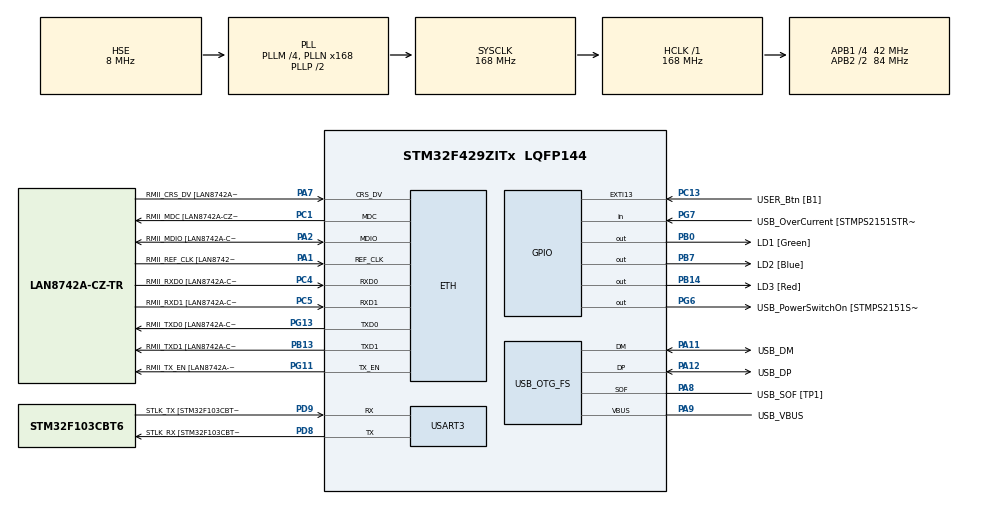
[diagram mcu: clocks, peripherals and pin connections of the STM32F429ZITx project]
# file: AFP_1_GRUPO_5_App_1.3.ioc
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ETH.MediaInterface=HAL_ETH_RMII_MODE
ETH.PHY_Name=LAN8742A_PHY_ADDRESS
ETH.PHY_Value=0
ETH.PhyAddress=0
Mcu.Family=STM32F4
Mcu.Name=STM32F429ZITx
Mcu.Package=LQFP144
NVIC.PriorityGroup=NVIC_PRIORITYGROUP_4
PA1.GPIO_Label=RMII_REF_CLK [LAN8742A-CZ-TR_REFCLK0]
PA1.Mode=RMII
PA1.Signal=ETH_REF_CLK
PA10.GPIO_Label=USB_ID
PA10.Signal=USB_OTG_FS_ID
PA11.GPIO_Label=USB_DM
PA11.Mode=Device_Only
PA11.Signal=USB_OTG_FS_DM
PA12.GPIO_Label=USB_DP
PA12.Mode=Device_Only
PA12.Signal=USB_OTG_FS_DP
PA13.GPIO_Label=TMS
PA13.Mode=Serial_Wire
PA13.Signal=SYS_JTMS-SWDIO
PA14.GPIO_Label=TCK
PA14.Mode=Serial_Wire
PA14.Signal=SYS_JTCK-SWCLK
PA2.GPIO_Label=RMII_MDIO [LAN8742A-CZ-TR_MDIO]
PA2.Mode=RMII
PA2.Signal=ETH_MDIO
PA7.GPIO_Label=RMII_CRS_DV [LAN8742A-CZ-TR_CRS_DV]
PA7.Mode=RMII
PA7.Signal=ETH_CRS_DV
PA8.GPIO_Label=USB_SOF [TP1]
PA8.Mode=Activate_SOF_FS
PA8.Signal=USB_OTG_FS_SOF
PA9.GPIO_Label=USB_VBUS
PA9.Mode=Activate_VBUS
PA9.Signal=USB_OTG_FS_VBUS
PB0.GPIO_Label=LD1 [Green]
PB0.Signal=GPIO_Output
PB13.GPIO_Label=RMII_TXD1 [LAN8742A-CZ-TR_TXD1]
PB13.Mode=RMII
PB13.Signal=ETH_TXD1
PB14.GPIO_Label=LD3 [Red]
PB14.Signal=GPIO_Output
PB7.GPIO_Label=LD2 [Blue]
PB7.Signal=GPIO_Output
PC1.GPIO_Label=RMII_MDC [LAN8742A-CZ-TR_MDC]
PC1.Mode=RMII
PC1.Signal=ETH_MDC
PC13.GPIO_Label=USER_Btn [B1]
PC13.Signal=GPXTI13
PC14/OSC32_IN.Mode=LSE-External-Oscillator
PC14/OSC32_IN.Signal=RCC_OSC32_IN
PC15/OSC32_OUT.Mode=LSE-External-Oscillator
PC15/OSC32_OUT.Signal=RCC_OSC32_OUT
PC4.GPIO_Label=RMII_RXD0 [LAN8742A-CZ-TR_RXD0]
PC4.Mode=RMII
PC4.Signal=ETH_RXD0
PC5.GPIO_Label=RMII_RXD1 [LAN8742A-CZ-TR_RXD1]
PC5.Mode=RMII
PC5.Signal=ETH_RXD1
PD8.GPIO_Label=STLK_RX [STM32F103CBT6_PA3]
PD8.Mode=Asynchronous
PD8.Signal=USART3_TX
PD9.GPIO_Label=STLK_TX [STM32F103CBT6_PA2]
PD9.Mode=Asynchronous
PD9.Signal=USART3_RX
PG11.GPIO_Label=RMII_TX_EN [LAN8742A-CZ-TR_TXEN]
PG11.Mode=RMII
PG11.Signal=ETH_TX_EN
PG13.GPIO_Label=RMII_TXD0 [LAN8742A-CZ-TR_TXD0]
PG13.Mode=RMII
PG13.Signal=ETH_TXD0
PG6.GPIO_Label=USB_PowerSwitchOn [STMPS2151STR_EN]
PG6.Signal=GPIO_Output
PG7.GPIO_Label=USB_OverCurrent [STMPS2151STR_FAULT]
PG7.Signal=GPIO_Input
PH0/OSC_IN.GPIO_Label=MCO [STM32F103CBT6_PA8]
PH0/OSC_IN.Mode=HSE-External-Clock-Source
PH0/OSC_IN.Signal=RCC_OSC_IN
PH1/OSC_OUT.Mode=HSE-External-Clock-Source
PH1/OSC_OUT.Signal=RCC_OSC_OUT
ProjectManager.HeapSize=0x200
ProjectManager.StackSize=0x400
ProjectManager.TargetToolchain=STM32CubeIDE
RCC.48MHZClocksFreq_Value=48000000
RCC.AHBFreq_Value=168000000
RCC.APB1CLKDivider=RCC_HCLK_DIV4
RCC.APB1Freq_Value=42000000
RCC.APB1TimFreq_Value=84000000
RCC.APB2CLKDivider=RCC_HCLK_DIV2
RCC.APB2Freq_Value=84000000
RCC.APB2TimCLKDivider=2
RCC.APB2TimFreq_Value=168000000
RCC.CortexFreq_Value=168000000
RCC.HCLKFreq_Value=168000000
RCC.HSE_VALUE=8000000
RCC.HSI_VALUE=16000000
RCC.PLLM=4
RCC.PLLMUL=RCC_PLL_MUL9
RCC.PLLN=168
RCC.PLLQ=7
RCC.PRESCALERUSB=RCC_USBCLKSOURCE_PLL_DIV1_5
RCC.SYSCLKFreq_VALUE=168000000
RCC.SYSCLKSource=RCC_SYSCLKSOURCE_PLLCLK
RCC.SYSCLKSourceVirtual=RCC_SYSCLKSOURCE_PLLCLK
RCC.USBFreq_Value=48000000
RCC.VCOOutputFreq_Value=336000000
USART3.VirtualMode=VM_ASYNC
USB_OTG_FS.VirtualMode=Device_Only
board=NUCLEO-F429ZI

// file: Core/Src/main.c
/* USER CODE BEGIN Header */
/**
 * #include "stm32f4xx_hal.h"
  ******************************************************************************
  * @file           : main.c
  * @brief          : Main program body
  ******************************************************************************
  * @attention
  *
  * Copyright (c) 2024 STMicroelectronics.
  * All rights reserved.
  *
  * This software is licensed under terms that can be found in the LICENSE file
  * in the root directory of this software component.
  * If no LICENSE file comes with this software, it is provided AS-IS.
  *
  ******************************************************************************
  */
/* USER CODE END Header */
#include "main.h"
#include "string.h"

ETH_TxPacketConfig TxConfig;
ETH_DMADescTypeDef  DMARxDscrTab[ETH_RX_DESC_CNT]; /* Ethernet Rx DMA Descriptors */
ETH_DMADescTypeDef  DMATxDscrTab[ETH_TX_DESC_CNT]; /* Ethernet Tx DMA Descriptors */

ETH_HandleTypeDef heth;

UART_HandleTypeDef huart3;

PCD_HandleTypeDef hpcd_USB_OTG_FS;

void SystemClock_Config(void);
static void MX_GPIO_Init(void);
static void MX_ETH_Init(void);
static void MX_USART3_UART_Init(void);
static void MX_USB_OTG_FS_PCD_Init(void);

/* USER CODE BEGIN 0 */
uint16_t vector_leds [CANT_LEDS] = {LD1_Pin, LD2_Pin, LD3_Pin};
uint8_t secuencia_actual = 1; // Secuencia inicial

/* USER CODE END 0 */

int main(void)
{

  /* MCU Configuration--------------------------------------------------------*/

  /* Reset of all peripherals, Initializes the Flash interface and the Systick. */
  HAL_Init();

  /* Configure the system clock */
  SystemClock_Config();

  /* Initialize all configured peripherals */
  MX_GPIO_Init();
  MX_ETH_Init();
  MX_USART3_UART_Init();
  MX_USB_OTG_FS_PCD_Init();

  /* Infinite loop */
  /* USER CODE BEGIN WHILE */
  while (1)
  {
	  switch(secuencia_actual){
	  	  	  case 1:
	  	  		  secuencia_actual = secuencia1(vector_leds, 150);
	  	  		  break;
	  	  	  case 2:
	  	  		  secuencia_actual = secuencia2(vector_leds, 300);
	  	  		  break;
	  	  	  case 3:
	  	  		  secuencia_actual = secuencia3(vector_leds);
	  	  		  break;
	  	  	  case 4:
	  	  		  secuencia_actual = secuencia4(vector_leds);
	  	  		  break;
	  	  	  default:
	  	  		  for(int j=0;j<CANT_LEDS;j++){
	  	  			  HAL_GPIO_WritePin(GPIOB, vector_leds[j], GPIO_PIN_RESET);
	  	  		  }
	  	  		  break;
	  	  }
  /* USER CODE END 3 */
}
}
void SystemClock_Config(void)
{
  RCC_OscInitTypeDef RCC_OscInitStruct = {0};
  RCC_ClkInitTypeDef RCC_ClkInitStruct = {0};

  /** Configure the main internal regulator output voltage
  */
  __HAL_RCC_PWR_CLK_ENABLE();
  __HAL_PWR_VOLTAGESCALING_CONFIG(PWR_REGULATOR_VOLTAGE_SCALE1);

  /** Initializes the RCC Oscillators according to the specified parameters
  * in the RCC_OscInitTypeDef structure.
  */
  RCC_OscInitStruct.OscillatorType = RCC_OSCILLATORTYPE_HSE;
  RCC_OscInitStruct.HSEState = RCC_HSE_BYPASS;
  RCC_OscInitStruct.PLL.PLLState = RCC_PLL_ON;
  RCC_OscInitStruct.PLL.PLLSource = RCC_PLLSOURCE_HSE;
  RCC_OscInitStruct.PLL.PLLM = 4;
  RCC_OscInitStruct.PLL.PLLN = 168;
  RCC_OscInitStruct.PLL.PLLP = RCC_PLLP_DIV2;
  RCC_OscInitStruct.PLL.PLLQ = 7;
  if (HAL_RCC_OscConfig(&RCC_OscInitStruct) != HAL_OK)
  {
    Error_Handler();
  }

  /** Initializes the CPU, AHB and APB buses clocks
  */
  RCC_ClkInitStruct.ClockType = RCC_CLOCKTYPE_HCLK|RCC_CLOCKTYPE_SYSCLK
                              |RCC_CLOCKTYPE_PCLK1|RCC_CLOCKTYPE_PCLK2;
  RCC_ClkInitStruct.SYSCLKSource = RCC_SYSCLKSOURCE_PLLCLK;
  RCC_ClkInitStruct.AHBCLKDivider = RCC_SYSCLK_DIV1;
  RCC_ClkInitStruct.APB1CLKDivider = RCC_HCLK_DIV4;
  RCC_ClkInitStruct.APB2CLKDivider = RCC_HCLK_DIV2;

  if (HAL_RCC_ClockConfig(&RCC_ClkInitStruct, FLASH_LATENCY_5) != HAL_OK)
  {
    Error_Handler();
  }
}

static void MX_ETH_Init(void)
{

   static uint8_t MACAddr[6];

  heth.Instance = ETH;
  MACAddr[0] = 0x00;
  MACAddr[1] = 0x80;
  MACAddr[2] = 0xE1;
  MACAddr[3] = 0x00;
  MACAddr[4] = 0x00;
  MACAddr[5] = 0x00;
  heth.Init.MACAddr = &MACAddr[0];
  heth.Init.MediaInterface = HAL_ETH_RMII_MODE;
  heth.Init.TxDesc = DMATxDscrTab;
  heth.Init.RxDesc = DMARxDscrTab;
  heth.Init.RxBuffLen = 1524;

  if (HAL_ETH_Init(&heth) != HAL_OK)
  {
    Error_Handler();
  }

  memset(&TxConfig, 0 , sizeof(ETH_TxPacketConfig));
  TxConfig.Attributes = ETH_TX_PACKETS_FEATURES_CSUM | ETH_TX_PACKETS_FEATURES_CRCPAD;
  TxConfig.ChecksumCtrl = ETH_CHECKSUM_IPHDR_PAYLOAD_INSERT_PHDR_CALC;
  TxConfig.CRCPadCtrl = ETH_CRC_PAD_INSERT;

}

static void MX_USART3_UART_Init(void)
{

  huart3.Instance = USART3;
  huart3.Init.BaudRate = 115200;
  huart3.Init.WordLength = UART_WORDLENGTH_8B;
  huart3.Init.StopBits = UART_STOPBITS_1;
  huart3.Init.Parity = UART_PARITY_NONE;
  huart3.Init.Mode = UART_MODE_TX_RX;
  huart3.Init.HwFlowCtl = UART_HWCONTROL_NONE;
  huart3.Init.OverSampling = UART_OVERSAMPLING_16;
  if (HAL_UART_Init(&huart3) != HAL_OK)
  {
    Error_Handler();
  }

}

static void MX_USB_OTG_FS_PCD_Init(void)
{

  hpcd_USB_OTG_FS.Instance = USB_OTG_FS;
  hpcd_USB_OTG_FS.Init.dev_endpoints = 4;
  hpcd_USB_OTG_FS.Init.speed = PCD_SPEED_FULL;
  hpcd_USB_OTG_FS.Init.dma_enable = DISABLE;
  hpcd_USB_OTG_FS.Init.phy_itface = PCD_PHY_EMBEDDED;
  hpcd_USB_OTG_FS.Init.Sof_enable = ENABLE;
  hpcd_USB_OTG_FS.Init.low_power_enable = DISABLE;
  hpcd_USB_OTG_FS.Init.lpm_enable = DISABLE;
  hpcd_USB_OTG_FS.Init.vbus_sensing_enable = ENABLE;
  hpcd_USB_OTG_FS.Init.use_dedicated_ep1 = DISABLE;
  if (HAL_PCD_Init(&hpcd_USB_OTG_FS) != HAL_OK)
  {
    Error_Handler();
  }

}

static void MX_GPIO_Init(void)
{
  GPIO_InitTypeDef GPIO_InitStruct = {0};

  /* GPIO Ports Clock Enable */
  __HAL_RCC_GPIOC_CLK_ENABLE();
  __HAL_RCC_GPIOH_CLK_ENABLE();
  __HAL_RCC_GPIOA_CLK_ENABLE();
  __HAL_RCC_GPIOB_CLK_ENABLE();
  __HAL_RCC_GPIOD_CLK_ENABLE();
  __HAL_RCC_GPIOG_CLK_ENABLE();

  /*Configure GPIO pin Output Level */
  HAL_GPIO_WritePin(GPIOB, LD1_Pin|LD3_Pin|LD2_Pin, GPIO_PIN_RESET);

  /*Configure GPIO pin Output Level */
  HAL_GPIO_WritePin(USB_PowerSwitchOn_GPIO_Port, USB_PowerSwitchOn_Pin, GPIO_PIN_RESET);

  /*Configure GPIO pin : USER_Btn_Pin */
  GPIO_InitStruct.Pin = USER_Btn_Pin;
  GPIO_InitStruct.Mode = GPIO_MODE_IT_RISING;
  GPIO_InitStruct.Pull = GPIO_NOPULL;
  HAL_GPIO_Init(USER_Btn_GPIO_Port, &GPIO_InitStruct);

  /*Configure GPIO pins : LD1_Pin LD3_Pin LD2_Pin */
  GPIO_InitStruct.Pin = LD1_Pin|LD3_Pin|LD2_Pin;
  GPIO_InitStruct.Mode = GPIO_MODE_OUTPUT_PP;
  GPIO_InitStruct.Pull = GPIO_NOPULL;
  GPIO_InitStruct.Speed = GPIO_SPEED_FREQ_LOW;
  HAL_GPIO_Init(GPIOB, &GPIO_InitStruct);

  /*Configure GPIO pin : USB_PowerSwitchOn_Pin */
  GPIO_InitStruct.Pin = USB_PowerSwitchOn_Pin;
  GPIO_InitStruct.Mode = GPIO_MODE_OUTPUT_PP;
  GPIO_InitStruct.Pull = GPIO_NOPULL;
  GPIO_InitStruct.Speed = GPIO_SPEED_FREQ_LOW;
  HAL_GPIO_Init(USB_PowerSwitchOn_GPIO_Port, &GPIO_InitStruct);

  /*Configure GPIO pin : USB_OverCurrent_Pin */
  GPIO_InitStruct.Pin = USB_OverCurrent_Pin;
  GPIO_InitStruct.Mode = GPIO_MODE_INPUT;
  GPIO_InitStruct.Pull = GPIO_NOPULL;
  HAL_GPIO_Init(USB_OverCurrent_GPIO_Port, &GPIO_InitStruct);

}

/* USER CODE BEGIN 4 */
uint8_t secuencia1(uint16_t* vector_leds, uint8_t retardo_ms){
	for(int i=0; i<CANT_LEDS;i++){
			/*TIEMPO DE ENCENDIDO*/
			for(int tick=0;tick<retardo_ms;tick++){
				if(HAL_GPIO_ReadPin(USER_Btn_GPIO_Port, USER_Btn_Pin) == GPIO_PIN_SET){
					while(HAL_GPIO_ReadPin(USER_Btn_GPIO_Port, USER_Btn_Pin) == GPIO_PIN_SET){}; //Antirebote por SW
					for(int j=0;j<CANT_LEDS;j++){
						HAL_GPIO_WritePin(GPIOB, vector_leds[j], GPIO_PIN_RESET);
					}
					return 2;
				}
				HAL_GPIO_WritePin(GPIOB, vector_leds[i], GPIO_PIN_SET);
				HAL_Delay(1);
			}
			/*TIEMPO DE APAGADO*/
			for(int tick=0;tick<retardo_ms;tick++){
				if(HAL_GPIO_ReadPin(USER_Btn_GPIO_Port, USER_Btn_Pin) == GPIO_PIN_SET){
					while(HAL_GPIO_ReadPin(USER_Btn_GPIO_Port, USER_Btn_Pin) == GPIO_PIN_SET){};
					for(int j=0;j<CANT_LEDS;j++){
						HAL_GPIO_WritePin(GPIOB, vector_leds[j], GPIO_PIN_RESET);
					}
					return 2;
				}
				HAL_GPIO_WritePin(GPIOB, vector_leds[i], GPIO_PIN_RESET);
				HAL_Delay(1);
			}
		}
		return 1;
}

uint8_t secuencia2(uint16_t* vector_leds, uint16_t retardo_ms){
	/*TIEMPO DE ENCENDIDO*/
	for(int tick=0;tick<(retardo_ms/2);tick++){
		if(HAL_GPIO_ReadPin(USER_Btn_GPIO_Port, USER_Btn_Pin) == GPIO_PIN_SET){
			while(HAL_GPIO_ReadPin(USER_Btn_GPIO_Port, USER_Btn_Pin) == GPIO_PIN_SET){}; //Antirebote por SW
			for(int j=0;j<CANT_LEDS;j++){
				HAL_GPIO_WritePin(GPIOB, vector_leds[j], GPIO_PIN_RESET);
			}
			return 3;
		}
		for(int j=0; j<CANT_LEDS;j++){
			HAL_GPIO_WritePin(GPIOB, vector_leds[j], GPIO_PIN_SET);
		}
    HAL_Delay(1);
	}
	/*TIEMPO DE APAGADO*/
	for(int tick=0;tick<(retardo_ms/2);tick++){
		if(HAL_GPIO_ReadPin(USER_Btn_GPIO_Port, USER_Btn_Pin) == GPIO_PIN_SET){
			while(HAL_GPIO_ReadPin(USER_Btn_GPIO_Port, USER_Btn_Pin) == GPIO_PIN_SET){};
			for(int j=0;j<CANT_LEDS;j++){
				HAL_GPIO_WritePin(GPIOB, vector_leds[j], GPIO_PIN_RESET);
			}
			return 3;
		}
		for(int j=0; j<CANT_LEDS;j++){
			HAL_GPIO_WritePin(GPIOB, vector_leds[j], GPIO_PIN_RESET);
		}
    HAL_Delay(1);
	}
	return 2;
}

uint8_t secuencia3(uint16_t* vector_leds){
	/*TIEMPO DE ENCENDIDO*/
	for(int tick=0;tick<1200;tick++){
		if(HAL_GPIO_ReadPin(USER_Btn_GPIO_Port, USER_Btn_Pin) == GPIO_PIN_SET){
			while(HAL_GPIO_ReadPin(USER_Btn_GPIO_Port, USER_Btn_Pin) == GPIO_PIN_SET){}; //Antirebote por SW
			for(int j=0;j<CANT_LEDS;j++){
				HAL_GPIO_WritePin(GPIOB, vector_leds[j], GPIO_PIN_RESET);
			}
			return 4;
		}
		if((tick%100) == 0){
			HAL_GPIO_TogglePin(GPIOB, vector_leds[0]);
		}
		if((tick%300) == 0){
			HAL_GPIO_TogglePin(GPIOB, vector_leds[1]);
		}
		if((tick%600) == 0){
			HAL_GPIO_TogglePin(GPIOB, vector_leds[2]);
		}
		HAL_Delay(1);
	}
	return 3;
}

uint8_t secuencia4(uint16_t* vector_leds){
	/*CONFIGURACION INICIAL*/
	for(int i=0;i<CANT_LEDS;i++){
		if((i%2 == 1)){
			HAL_GPIO_WritePin(GPIOB, vector_leds[i], GPIO_PIN_SET);
		}else{
			HAL_GPIO_WritePin(GPIOB, vector_leds[i], GPIO_PIN_RESET);
		}
	}

	/*SECUENCIA*/
	for(int tick=0;tick<300;tick++){
		if(HAL_GPIO_ReadPin(USER_Btn_GPIO_Port, USER_Btn_Pin) == GPIO_PIN_SET){
			while(HAL_GPIO_ReadPin(USER_Btn_GPIO_Port, USER_Btn_Pin) == GPIO_PIN_SET){}; //Antirebote por SW
			for(int j=0;j<CANT_LEDS;j++){
				HAL_GPIO_WritePin(GPIOB, vector_leds[j], GPIO_PIN_RESET);
			}
			return 1;
		}
		if((tick%150) == 0){
			for(int i=0;i<CANT_LEDS;i++){
				HAL_GPIO_TogglePin(GPIOB, vector_leds[i]);
			}
		}
		HAL_Delay(1);
	}
	return 4;
}

/* USER CODE END 4 */

void Error_Handler(void)
{
  __disable_irq();
  while (1)
  {
  }
}
